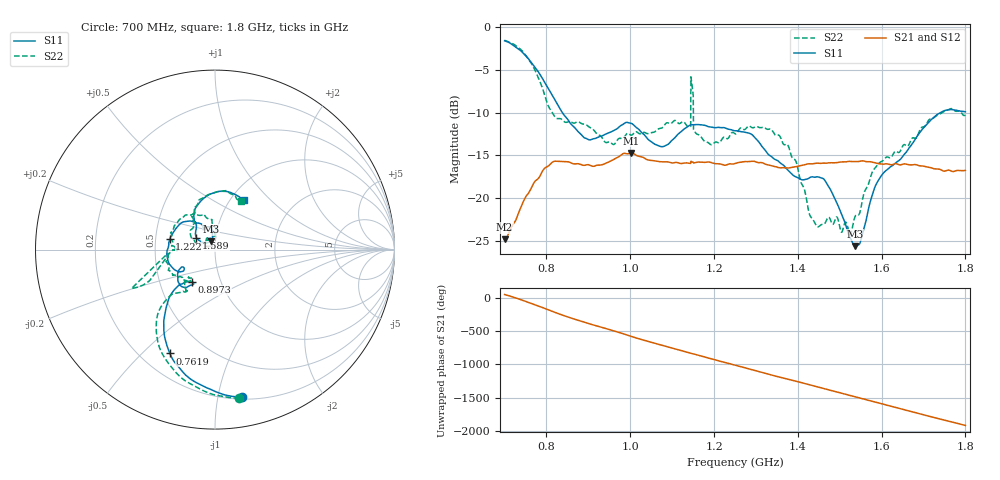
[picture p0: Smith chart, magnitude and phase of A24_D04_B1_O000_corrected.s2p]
! Created with skrf 1.9.0 (http://scikit-rf.org).
# Hz S RI R 50.0
!freq ReS11 ImS11 ReS21 ImS21 ReS12 ImS12 ReS22 ImS22
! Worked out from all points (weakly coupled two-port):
!   1601 points, 700 MHz to 1.8 GHz, reference 50 ohm
!   highest |S21| = -14.72 dB at 1.002 GHz (marker M1); lowest = -24.8 dB at 700 MHz (marker M2)
!   lowest |S11| = -25.6 dB at 1.537 GHz (marker M3), VSWR 1.11, Z = 47.6 + j4.49 ohm
!   |S11| at or under -10 dB: 838 MHz to 1.74 GHz (902.1 MHz wide, 70 % of centre)
!   |S22| runs from -24.3 to -1.5 dB; largest |S21 - S12| = 0.0032
!   S11 on the Smith chart (normalised r, x): 700 MHz: 0.22, -1.18; 761.9 MHz: 0.32, -0.61; 897.3 MHz: 0.73, -0.28; 1.222 GHz: 0.59, +0.07; 1.589 GHz: 0.81, +0.11; 1.8 GHz: 1.15, +0.71
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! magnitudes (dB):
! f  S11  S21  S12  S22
! 700 MHz  -1.6  -24.8  -24.6  -1.5
! 761.9 MHz  -4.0  -19.0  -18.9  -4.1
! 819.6 MHz  -8.4  -15.7  -15.8  -10.4
! 883.6 MHz  -12.6  -16.1  -16.0  -11.3
! 897.3 MHz  -13.1  -16.1  -16.2  -11.5
! 1.002 GHz  -11.2  -14.7  -14.8  -12.6
! 1.067 GHz  -13.9  -15.7  -15.7  -11.9
! 1.139 GHz  -11.6  -15.9  -15.9  -11.6
! 1.145 GHz  -11.4  -15.7  -15.7  -5.8
! 1.157 GHz  -11.4  -15.8  -15.8  -12.4
! 1.222 GHz  -11.7  -16.1  -16.1  -12.9
! 1.25 GHz  -12.1  -16.0  -15.9  -12.5
! 1.356 GHz  -15.8  -16.4  -16.4  -12.7
! 1.396 GHz  -17.5  -16.3  -16.3  -15.7
! 1.434 GHz  -17.5  -16.0  -15.9  -22.4
! 1.469 GHz  -18.3  -15.9  -15.9  -22.5
! 1.525 GHz  -24.7  -15.7  -15.7  -24.3
! 1.537 GHz  -25.6  -15.7  -15.7  -22.2
! 1.589 GHz  -18.2  -15.9  -15.9  -16.2
! 1.617 GHz  -16.5  -16.0  -16.0  -15.2
! 1.731 GHz  -10.3  -16.6  -16.6  -10.4
! 1.8 GHz  -9.9  -16.8  -16.7  -10.3
